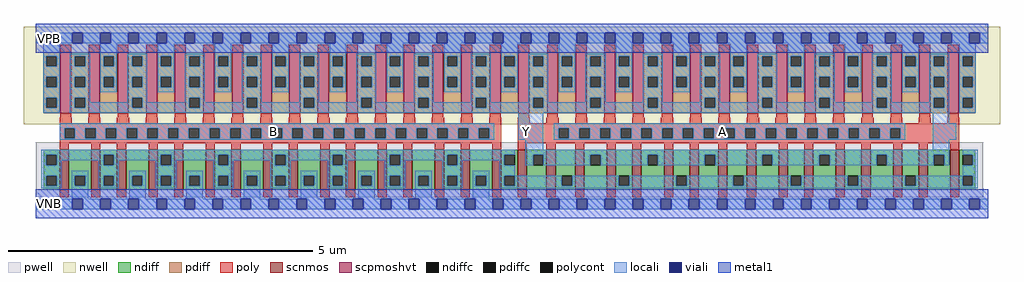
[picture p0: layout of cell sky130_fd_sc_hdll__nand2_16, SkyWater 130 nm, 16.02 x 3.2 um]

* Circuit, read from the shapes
.subckt sky130_fd_sc_hdll__nand2_16 A B VGND VNB VPB VPWR Y
XM1 VGND B n1 VNB sky130_fd_pr__nfet_01v8 w=0.65 l=0.15 m=16
XM2 Y A n1 VNB sky130_fd_pr__nfet_01v8 w=0.65 l=0.15 m=16
XM3 Y B VPWR VPB sky130_fd_pr__pfet_01v8_hvt w=1 l=0.18 m=16
XM4 Y A VPWR VPB sky130_fd_pr__pfet_01v8_hvt w=1 l=0.18 m=16
.ends

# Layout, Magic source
magic
tech sky130A
magscale 1 2
<< nwell >>
rect -38 261 3166 582
<< pwell >>
rect 1 21 3111 203
rect 29 -17 63 21
<< scnmos >>
rect 79 47 109 177
rect 183 47 213 177
rect 267 47 297 177
rect 371 47 401 177
rect 455 47 485 177
rect 559 47 589 177
rect 643 47 673 177
rect 747 47 777 177
rect 831 47 861 177
rect 935 47 965 177
rect 1019 47 1049 177
rect 1123 47 1153 177
rect 1207 47 1237 177
rect 1311 47 1341 177
rect 1395 47 1425 177
rect 1499 47 1529 177
rect 1583 47 1613 177
rect 1677 47 1707 177
rect 1771 47 1801 177
rect 1875 47 1905 177
rect 1959 47 1989 177
rect 2063 47 2093 177
rect 2147 47 2177 177
rect 2241 47 2271 177
rect 2335 47 2365 177
rect 2439 47 2469 177
rect 2523 47 2553 177
rect 2627 47 2657 177
rect 2711 47 2741 177
rect 2815 47 2845 177
rect 2899 47 2929 177
rect 3003 47 3033 177
<< scpmoshvt >>
rect 81 297 117 497
rect 175 297 211 497
rect 269 297 305 497
rect 363 297 399 497
rect 457 297 493 497
rect 551 297 587 497
rect 645 297 681 497
rect 739 297 775 497
rect 833 297 869 497
rect 927 297 963 497
rect 1021 297 1057 497
rect 1115 297 1151 497
rect 1209 297 1245 497
rect 1303 297 1339 497
rect 1397 297 1433 497
rect 1491 297 1527 497
rect 1585 297 1621 497
rect 1679 297 1715 497
rect 1773 297 1809 497
rect 1867 297 1903 497
rect 1961 297 1997 497
rect 2055 297 2091 497
rect 2149 297 2185 497
rect 2243 297 2279 497
rect 2337 297 2373 497
rect 2431 297 2467 497
rect 2525 297 2561 497
rect 2619 297 2655 497
rect 2713 297 2749 497
rect 2807 297 2843 497
rect 2901 297 2937 497
rect 2995 297 3031 497
<< ndiff >>
rect 27 161 79 177
rect 27 127 35 161
rect 69 127 79 161
rect 27 93 79 127
rect 27 59 35 93
rect 69 59 79 93
rect 27 47 79 59
rect 109 93 183 177
rect 109 59 129 93
rect 163 59 183 93
rect 109 47 183 59
rect 213 161 267 177
rect 213 127 223 161
rect 257 127 267 161
rect 213 93 267 127
rect 213 59 223 93
rect 257 59 267 93
rect 213 47 267 59
rect 297 93 371 177
rect 297 59 317 93
rect 351 59 371 93
rect 297 47 371 59
rect 401 161 455 177
rect 401 127 411 161
rect 445 127 455 161
rect 401 93 455 127
rect 401 59 411 93
rect 445 59 455 93
rect 401 47 455 59
rect 485 93 559 177
rect 485 59 505 93
rect 539 59 559 93
rect 485 47 559 59
rect 589 161 643 177
rect 589 127 599 161
rect 633 127 643 161
rect 589 93 643 127
rect 589 59 599 93
rect 633 59 643 93
rect 589 47 643 59
rect 673 93 747 177
rect 673 59 693 93
rect 727 59 747 93
rect 673 47 747 59
rect 777 161 831 177
rect 777 127 787 161
rect 821 127 831 161
rect 777 93 831 127
rect 777 59 787 93
rect 821 59 831 93
rect 777 47 831 59
rect 861 93 935 177
rect 861 59 881 93
rect 915 59 935 93
rect 861 47 935 59
rect 965 161 1019 177
rect 965 127 975 161
rect 1009 127 1019 161
rect 965 93 1019 127
rect 965 59 975 93
rect 1009 59 1019 93
rect 965 47 1019 59
rect 1049 93 1123 177
rect 1049 59 1069 93
rect 1103 59 1123 93
rect 1049 47 1123 59
rect 1153 161 1207 177
rect 1153 127 1163 161
rect 1197 127 1207 161
rect 1153 93 1207 127
rect 1153 59 1163 93
rect 1197 59 1207 93
rect 1153 47 1207 59
rect 1237 93 1311 177
rect 1237 59 1257 93
rect 1291 59 1311 93
rect 1237 47 1311 59
rect 1341 161 1395 177
rect 1341 127 1351 161
rect 1385 127 1395 161
rect 1341 93 1395 127
rect 1341 59 1351 93
rect 1385 59 1395 93
rect 1341 47 1395 59
rect 1425 93 1499 177
rect 1425 59 1445 93
rect 1479 59 1499 93
rect 1425 47 1499 59
rect 1529 161 1583 177
rect 1529 127 1539 161
rect 1573 127 1583 161
rect 1529 93 1583 127
rect 1529 59 1539 93
rect 1573 59 1583 93
rect 1529 47 1583 59
rect 1613 161 1677 177
rect 1613 127 1633 161
rect 1667 127 1677 161
rect 1613 47 1677 127
rect 1707 93 1771 177
rect 1707 59 1727 93
rect 1761 59 1771 93
rect 1707 47 1771 59
rect 1801 161 1875 177
rect 1801 127 1821 161
rect 1855 127 1875 161
rect 1801 47 1875 127
rect 1905 93 1959 177
rect 1905 59 1915 93
rect 1949 59 1959 93
rect 1905 47 1959 59
rect 1989 161 2063 177
rect 1989 127 2009 161
rect 2043 127 2063 161
rect 1989 47 2063 127
rect 2093 93 2147 177
rect 2093 59 2103 93
rect 2137 59 2147 93
rect 2093 47 2147 59
rect 2177 161 2241 177
rect 2177 127 2197 161
rect 2231 127 2241 161
rect 2177 47 2241 127
rect 2271 93 2335 177
rect 2271 59 2291 93
rect 2325 59 2335 93
rect 2271 47 2335 59
rect 2365 161 2439 177
rect 2365 127 2385 161
rect 2419 127 2439 161
rect 2365 47 2439 127
rect 2469 93 2523 177
rect 2469 59 2479 93
rect 2513 59 2523 93
rect 2469 47 2523 59
rect 2553 161 2627 177
rect 2553 127 2573 161
rect 2607 127 2627 161
rect 2553 47 2627 127
rect 2657 93 2711 177
rect 2657 59 2667 93
rect 2701 59 2711 93
rect 2657 47 2711 59
rect 2741 161 2815 177
rect 2741 127 2761 161
rect 2795 127 2815 161
rect 2741 47 2815 127
rect 2845 93 2899 177
rect 2845 59 2855 93
rect 2889 59 2899 93
rect 2845 47 2899 59
rect 2929 161 3003 177
rect 2929 127 2949 161
rect 2983 127 3003 161
rect 2929 47 3003 127
rect 3033 161 3085 177
rect 3033 127 3043 161
rect 3077 127 3085 161
rect 3033 93 3085 127
rect 3033 59 3043 93
rect 3077 59 3085 93
rect 3033 47 3085 59
<< pdiff >>
rect 27 485 81 497
rect 27 451 35 485
rect 69 451 81 485
rect 27 417 81 451
rect 27 383 35 417
rect 69 383 81 417
rect 27 349 81 383
rect 27 315 35 349
rect 69 315 81 349
rect 27 297 81 315
rect 117 485 175 497
rect 117 451 129 485
rect 163 451 175 485
rect 117 417 175 451
rect 117 383 129 417
rect 163 383 175 417
rect 117 349 175 383
rect 117 315 129 349
rect 163 315 175 349
rect 117 297 175 315
rect 211 485 269 497
rect 211 451 223 485
rect 257 451 269 485
rect 211 417 269 451
rect 211 383 223 417
rect 257 383 269 417
rect 211 297 269 383
rect 305 485 363 497
rect 305 451 317 485
rect 351 451 363 485
rect 305 417 363 451
rect 305 383 317 417
rect 351 383 363 417
rect 305 349 363 383
rect 305 315 317 349
rect 351 315 363 349
rect 305 297 363 315
rect 399 485 457 497
rect 399 451 411 485
rect 445 451 457 485
rect 399 417 457 451
rect 399 383 411 417
rect 445 383 457 417
rect 399 297 457 383
rect 493 485 551 497
rect 493 451 505 485
rect 539 451 551 485
rect 493 417 551 451
rect 493 383 505 417
rect 539 383 551 417
rect 493 349 551 383
rect 493 315 505 349
rect 539 315 551 349
rect 493 297 551 315
rect 587 485 645 497
rect 587 451 599 485
rect 633 451 645 485
rect 587 417 645 451
rect 587 383 599 417
rect 633 383 645 417
rect 587 297 645 383
rect 681 485 739 497
rect 681 451 693 485
rect 727 451 739 485
rect 681 417 739 451
rect 681 383 693 417
rect 727 383 739 417
rect 681 349 739 383
rect 681 315 693 349
rect 727 315 739 349
rect 681 297 739 315
rect 775 485 833 497
rect 775 451 787 485
rect 821 451 833 485
rect 775 417 833 451
rect 775 383 787 417
rect 821 383 833 417
rect 775 297 833 383
rect 869 485 927 497
rect 869 451 881 485
rect 915 451 927 485
rect 869 417 927 451
rect 869 383 881 417
rect 915 383 927 417
rect 869 349 927 383
rect 869 315 881 349
rect 915 315 927 349
rect 869 297 927 315
rect 963 485 1021 497
rect 963 451 975 485
rect 1009 451 1021 485
rect 963 417 1021 451
rect 963 383 975 417
rect 1009 383 1021 417
rect 963 297 1021 383
rect 1057 485 1115 497
rect 1057 451 1069 485
rect 1103 451 1115 485
rect 1057 417 1115 451
rect 1057 383 1069 417
rect 1103 383 1115 417
rect 1057 349 1115 383
rect 1057 315 1069 349
rect 1103 315 1115 349
rect 1057 297 1115 315
rect 1151 485 1209 497
rect 1151 451 1163 485
rect 1197 451 1209 485
rect 1151 417 1209 451
rect 1151 383 1163 417
rect 1197 383 1209 417
rect 1151 297 1209 383
rect 1245 485 1303 497
rect 1245 451 1257 485
rect 1291 451 1303 485
rect 1245 417 1303 451
rect 1245 383 1257 417
rect 1291 383 1303 417
rect 1245 349 1303 383
rect 1245 315 1257 349
rect 1291 315 1303 349
rect 1245 297 1303 315
rect 1339 485 1397 497
rect 1339 451 1351 485
rect 1385 451 1397 485
rect 1339 417 1397 451
rect 1339 383 1351 417
rect 1385 383 1397 417
rect 1339 297 1397 383
rect 1433 485 1491 497
rect 1433 451 1445 485
rect 1479 451 1491 485
rect 1433 417 1491 451
rect 1433 383 1445 417
rect 1479 383 1491 417
rect 1433 349 1491 383
rect 1433 315 1445 349
rect 1479 315 1491 349
rect 1433 297 1491 315
rect 1527 485 1585 497
rect 1527 451 1539 485
rect 1573 451 1585 485
rect 1527 417 1585 451
rect 1527 383 1539 417
rect 1573 383 1585 417
rect 1527 297 1585 383
rect 1621 485 1679 497
rect 1621 451 1633 485
rect 1667 451 1679 485
rect 1621 417 1679 451
rect 1621 383 1633 417
rect 1667 383 1679 417
rect 1621 349 1679 383
rect 1621 315 1633 349
rect 1667 315 1679 349
rect 1621 297 1679 315
rect 1715 485 1773 497
rect 1715 451 1727 485
rect 1761 451 1773 485
rect 1715 417 1773 451
rect 1715 383 1727 417
rect 1761 383 1773 417
rect 1715 297 1773 383
rect 1809 485 1867 497
rect 1809 451 1821 485
rect 1855 451 1867 485
rect 1809 417 1867 451
rect 1809 383 1821 417
rect 1855 383 1867 417
rect 1809 349 1867 383
rect 1809 315 1821 349
rect 1855 315 1867 349
rect 1809 297 1867 315
rect 1903 485 1961 497
rect 1903 451 1915 485
rect 1949 451 1961 485
rect 1903 417 1961 451
rect 1903 383 1915 417
rect 1949 383 1961 417
rect 1903 297 1961 383
rect 1997 485 2055 497
rect 1997 451 2009 485
rect 2043 451 2055 485
rect 1997 417 2055 451
rect 1997 383 2009 417
rect 2043 383 2055 417
rect 1997 349 2055 383
rect 1997 315 2009 349
rect 2043 315 2055 349
rect 1997 297 2055 315
rect 2091 485 2149 497
rect 2091 451 2103 485
rect 2137 451 2149 485
rect 2091 417 2149 451
rect 2091 383 2103 417
rect 2137 383 2149 417
rect 2091 297 2149 383
rect 2185 485 2243 497
rect 2185 451 2197 485
rect 2231 451 2243 485
rect 2185 417 2243 451
rect 2185 383 2197 417
rect 2231 383 2243 417
rect 2185 349 2243 383
rect 2185 315 2197 349
rect 2231 315 2243 349
rect 2185 297 2243 315
rect 2279 485 2337 497
rect 2279 451 2291 485
rect 2325 451 2337 485
rect 2279 417 2337 451
rect 2279 383 2291 417
rect 2325 383 2337 417
rect 2279 297 2337 383
rect 2373 485 2431 497
rect 2373 451 2385 485
rect 2419 451 2431 485
rect 2373 417 2431 451
rect 2373 383 2385 417
rect 2419 383 2431 417
rect 2373 349 2431 383
rect 2373 315 2385 349
rect 2419 315 2431 349
rect 2373 297 2431 315
rect 2467 485 2525 497
rect 2467 451 2479 485
rect 2513 451 2525 485
rect 2467 417 2525 451
rect 2467 383 2479 417
rect 2513 383 2525 417
rect 2467 297 2525 383
rect 2561 485 2619 497
rect 2561 451 2573 485
rect 2607 451 2619 485
rect 2561 417 2619 451
rect 2561 383 2573 417
rect 2607 383 2619 417
rect 2561 349 2619 383
rect 2561 315 2573 349
rect 2607 315 2619 349
rect 2561 297 2619 315
rect 2655 485 2713 497
rect 2655 451 2667 485
rect 2701 451 2713 485
rect 2655 417 2713 451
rect 2655 383 2667 417
rect 2701 383 2713 417
rect 2655 297 2713 383
rect 2749 485 2807 497
rect 2749 451 2761 485
rect 2795 451 2807 485
rect 2749 417 2807 451
rect 2749 383 2761 417
rect 2795 383 2807 417
rect 2749 349 2807 383
rect 2749 315 2761 349
rect 2795 315 2807 349
rect 2749 297 2807 315
rect 2843 485 2901 497
rect 2843 451 2855 485
rect 2889 451 2901 485
rect 2843 417 2901 451
rect 2843 383 2855 417
rect 2889 383 2901 417
rect 2843 297 2901 383
rect 2937 485 2995 497
rect 2937 451 2949 485
rect 2983 451 2995 485
rect 2937 417 2995 451
rect 2937 383 2949 417
rect 2983 383 2995 417
rect 2937 349 2995 383
rect 2937 315 2949 349
rect 2983 315 2995 349
rect 2937 297 2995 315
rect 3031 485 3085 497
rect 3031 451 3043 485
rect 3077 451 3085 485
rect 3031 417 3085 451
rect 3031 383 3043 417
rect 3077 383 3085 417
rect 3031 349 3085 383
rect 3031 315 3043 349
rect 3077 315 3085 349
rect 3031 297 3085 315
<< ndiffc >>
rect 35 127 69 161
rect 35 59 69 93
rect 129 59 163 93
rect 223 127 257 161
rect 223 59 257 93
rect 317 59 351 93
rect 411 127 445 161
rect 411 59 445 93
rect 505 59 539 93
rect 599 127 633 161
rect 599 59 633 93
rect 693 59 727 93
rect 787 127 821 161
rect 787 59 821 93
rect 881 59 915 93
rect 975 127 1009 161
rect 975 59 1009 93
rect 1069 59 1103 93
rect 1163 127 1197 161
rect 1163 59 1197 93
rect 1257 59 1291 93
rect 1351 127 1385 161
rect 1351 59 1385 93
rect 1445 59 1479 93
rect 1539 127 1573 161
rect 1539 59 1573 93
rect 1633 127 1667 161
rect 1727 59 1761 93
rect 1821 127 1855 161
rect 1915 59 1949 93
rect 2009 127 2043 161
rect 2103 59 2137 93
rect 2197 127 2231 161
rect 2291 59 2325 93
rect 2385 127 2419 161
rect 2479 59 2513 93
rect 2573 127 2607 161
rect 2667 59 2701 93
rect 2761 127 2795 161
rect 2855 59 2889 93
rect 2949 127 2983 161
rect 3043 127 3077 161
rect 3043 59 3077 93
<< pdiffc >>
rect 35 451 69 485
rect 35 383 69 417
rect 35 315 69 349
rect 129 451 163 485
rect 129 383 163 417
rect 129 315 163 349
rect 223 451 257 485
rect 223 383 257 417
rect 317 451 351 485
rect 317 383 351 417
rect 317 315 351 349
rect 411 451 445 485
rect 411 383 445 417
rect 505 451 539 485
rect 505 383 539 417
rect 505 315 539 349
rect 599 451 633 485
rect 599 383 633 417
rect 693 451 727 485
rect 693 383 727 417
rect 693 315 727 349
rect 787 451 821 485
rect 787 383 821 417
rect 881 451 915 485
rect 881 383 915 417
rect 881 315 915 349
rect 975 451 1009 485
rect 975 383 1009 417
rect 1069 451 1103 485
rect 1069 383 1103 417
rect 1069 315 1103 349
rect 1163 451 1197 485
rect 1163 383 1197 417
rect 1257 451 1291 485
rect 1257 383 1291 417
rect 1257 315 1291 349
rect 1351 451 1385 485
rect 1351 383 1385 417
rect 1445 451 1479 485
rect 1445 383 1479 417
rect 1445 315 1479 349
rect 1539 451 1573 485
rect 1539 383 1573 417
rect 1633 451 1667 485
rect 1633 383 1667 417
rect 1633 315 1667 349
rect 1727 451 1761 485
rect 1727 383 1761 417
rect 1821 451 1855 485
rect 1821 383 1855 417
rect 1821 315 1855 349
rect 1915 451 1949 485
rect 1915 383 1949 417
rect 2009 451 2043 485
rect 2009 383 2043 417
rect 2009 315 2043 349
rect 2103 451 2137 485
rect 2103 383 2137 417
rect 2197 451 2231 485
rect 2197 383 2231 417
rect 2197 315 2231 349
rect 2291 451 2325 485
rect 2291 383 2325 417
rect 2385 451 2419 485
rect 2385 383 2419 417
rect 2385 315 2419 349
rect 2479 451 2513 485
rect 2479 383 2513 417
rect 2573 451 2607 485
rect 2573 383 2607 417
rect 2573 315 2607 349
rect 2667 451 2701 485
rect 2667 383 2701 417
rect 2761 451 2795 485
rect 2761 383 2795 417
rect 2761 315 2795 349
rect 2855 451 2889 485
rect 2855 383 2889 417
rect 2949 451 2983 485
rect 2949 383 2983 417
rect 2949 315 2983 349
rect 3043 451 3077 485
rect 3043 383 3077 417
rect 3043 315 3077 349
<< poly >>
rect 81 497 117 523
rect 175 497 211 523
rect 269 497 305 523
rect 363 497 399 523
rect 457 497 493 523
rect 551 497 587 523
rect 645 497 681 523
rect 739 497 775 523
rect 833 497 869 523
rect 927 497 963 523
rect 1021 497 1057 523
rect 1115 497 1151 523
rect 1209 497 1245 523
rect 1303 497 1339 523
rect 1397 497 1433 523
rect 1491 497 1527 523
rect 1585 497 1621 523
rect 1679 497 1715 523
rect 1773 497 1809 523
rect 1867 497 1903 523
rect 1961 497 1997 523
rect 2055 497 2091 523
rect 2149 497 2185 523
rect 2243 497 2279 523
rect 2337 497 2373 523
rect 2431 497 2467 523
rect 2525 497 2561 523
rect 2619 497 2655 523
rect 2713 497 2749 523
rect 2807 497 2843 523
rect 2901 497 2937 523
rect 2995 497 3031 523
rect 81 282 117 297
rect 175 282 211 297
rect 269 282 305 297
rect 363 282 399 297
rect 457 282 493 297
rect 551 282 587 297
rect 645 282 681 297
rect 739 282 775 297
rect 833 282 869 297
rect 927 282 963 297
rect 1021 282 1057 297
rect 1115 282 1151 297
rect 1209 282 1245 297
rect 1303 282 1339 297
rect 1397 282 1433 297
rect 1491 282 1527 297
rect 1585 282 1621 297
rect 1679 282 1715 297
rect 1773 282 1809 297
rect 1867 282 1903 297
rect 1961 282 1997 297
rect 2055 282 2091 297
rect 2149 282 2185 297
rect 2243 282 2279 297
rect 2337 282 2373 297
rect 2431 282 2467 297
rect 2525 282 2561 297
rect 2619 282 2655 297
rect 2713 282 2749 297
rect 2807 282 2843 297
rect 2901 282 2937 297
rect 2995 282 3031 297
rect 79 265 119 282
rect 173 265 213 282
rect 267 265 307 282
rect 361 265 401 282
rect 455 265 495 282
rect 549 265 589 282
rect 643 265 683 282
rect 737 265 777 282
rect 831 265 871 282
rect 925 265 965 282
rect 1019 265 1059 282
rect 1113 265 1153 282
rect 1207 265 1247 282
rect 1301 265 1341 282
rect 1395 265 1435 282
rect 1489 265 1529 282
rect 79 249 1529 265
rect 79 215 95 249
rect 129 215 163 249
rect 197 215 231 249
rect 265 215 299 249
rect 333 215 367 249
rect 401 215 435 249
rect 469 215 503 249
rect 537 215 571 249
rect 605 215 639 249
rect 673 215 707 249
rect 741 215 775 249
rect 809 215 843 249
rect 877 215 911 249
rect 945 215 979 249
rect 1013 215 1047 249
rect 1081 215 1115 249
rect 1149 215 1183 249
rect 1217 215 1251 249
rect 1285 215 1319 249
rect 1353 215 1387 249
rect 1421 215 1455 249
rect 1489 215 1529 249
rect 79 199 1529 215
rect 79 177 109 199
rect 183 177 213 199
rect 267 177 297 199
rect 371 177 401 199
rect 455 177 485 199
rect 559 177 589 199
rect 643 177 673 199
rect 747 177 777 199
rect 831 177 861 199
rect 935 177 965 199
rect 1019 177 1049 199
rect 1123 177 1153 199
rect 1207 177 1237 199
rect 1311 177 1341 199
rect 1395 177 1425 199
rect 1499 177 1529 199
rect 1583 265 1623 282
rect 1677 265 1717 282
rect 1771 265 1811 282
rect 1865 265 1905 282
rect 1959 265 1999 282
rect 2053 265 2093 282
rect 2147 265 2187 282
rect 2241 265 2281 282
rect 2335 265 2375 282
rect 2429 265 2469 282
rect 2523 265 2563 282
rect 2617 265 2657 282
rect 2711 265 2751 282
rect 2805 265 2845 282
rect 2899 265 2939 282
rect 2993 265 3033 282
rect 1583 249 3033 265
rect 1583 215 1717 249
rect 1751 215 1785 249
rect 1819 215 1853 249
rect 1887 215 1921 249
rect 1955 215 1989 249
rect 2023 215 2057 249
rect 2091 215 2125 249
rect 2159 215 2193 249
rect 2227 215 2261 249
rect 2295 215 2329 249
rect 2363 215 2397 249
rect 2431 215 2465 249
rect 2499 215 2533 249
rect 2567 215 2601 249
rect 2635 215 2669 249
rect 2703 215 2737 249
rect 2771 215 2805 249
rect 2839 215 3033 249
rect 1583 199 3033 215
rect 1583 177 1613 199
rect 1677 177 1707 199
rect 1771 177 1801 199
rect 1875 177 1905 199
rect 1959 177 1989 199
rect 2063 177 2093 199
rect 2147 177 2177 199
rect 2241 177 2271 199
rect 2335 177 2365 199
rect 2439 177 2469 199
rect 2523 177 2553 199
rect 2627 177 2657 199
rect 2711 177 2741 199
rect 2815 177 2845 199
rect 2899 177 2929 199
rect 3003 177 3033 199
rect 79 21 109 47
rect 183 21 213 47
rect 267 21 297 47
rect 371 21 401 47
rect 455 21 485 47
rect 559 21 589 47
rect 643 21 673 47
rect 747 21 777 47
rect 831 21 861 47
rect 935 21 965 47
rect 1019 21 1049 47
rect 1123 21 1153 47
rect 1207 21 1237 47
rect 1311 21 1341 47
rect 1395 21 1425 47
rect 1499 21 1529 47
rect 1583 21 1613 47
rect 1677 21 1707 47
rect 1771 21 1801 47
rect 1875 21 1905 47
rect 1959 21 1989 47
rect 2063 21 2093 47
rect 2147 21 2177 47
rect 2241 21 2271 47
rect 2335 21 2365 47
rect 2439 21 2469 47
rect 2523 21 2553 47
rect 2627 21 2657 47
rect 2711 21 2741 47
rect 2815 21 2845 47
rect 2899 21 2929 47
rect 3003 21 3033 47
<< polycont >>
rect 95 215 129 249
rect 163 215 197 249
rect 231 215 265 249
rect 299 215 333 249
rect 367 215 401 249
rect 435 215 469 249
rect 503 215 537 249
rect 571 215 605 249
rect 639 215 673 249
rect 707 215 741 249
rect 775 215 809 249
rect 843 215 877 249
rect 911 215 945 249
rect 979 215 1013 249
rect 1047 215 1081 249
rect 1115 215 1149 249
rect 1183 215 1217 249
rect 1251 215 1285 249
rect 1319 215 1353 249
rect 1387 215 1421 249
rect 1455 215 1489 249
rect 1717 215 1751 249
rect 1785 215 1819 249
rect 1853 215 1887 249
rect 1921 215 1955 249
rect 1989 215 2023 249
rect 2057 215 2091 249
rect 2125 215 2159 249
rect 2193 215 2227 249
rect 2261 215 2295 249
rect 2329 215 2363 249
rect 2397 215 2431 249
rect 2465 215 2499 249
rect 2533 215 2567 249
rect 2601 215 2635 249
rect 2669 215 2703 249
rect 2737 215 2771 249
rect 2805 215 2839 249
<< locali >>
rect 0 527 29 561
rect 63 527 121 561
rect 155 527 213 561
rect 247 527 305 561
rect 339 527 397 561
rect 431 527 489 561
rect 523 527 581 561
rect 615 527 673 561
rect 707 527 765 561
rect 799 527 857 561
rect 891 527 949 561
rect 983 527 1041 561
rect 1075 527 1133 561
rect 1167 527 1225 561
rect 1259 527 1317 561
rect 1351 527 1409 561
rect 1443 527 1501 561
rect 1535 527 1593 561
rect 1627 527 1685 561
rect 1719 527 1777 561
rect 1811 527 1869 561
rect 1903 527 1961 561
rect 1995 527 2053 561
rect 2087 527 2145 561
rect 2179 527 2237 561
rect 2271 527 2329 561
rect 2363 527 2421 561
rect 2455 527 2513 561
rect 2547 527 2605 561
rect 2639 527 2697 561
rect 2731 527 2789 561
rect 2823 527 2881 561
rect 2915 527 2973 561
rect 3007 527 3065 561
rect 3099 527 3128 561
rect 25 485 79 527
rect 25 451 35 485
rect 69 451 79 485
rect 25 417 79 451
rect 25 383 35 417
rect 69 383 79 417
rect 25 349 79 383
rect 25 315 35 349
rect 69 315 79 349
rect 25 299 79 315
rect 113 485 179 493
rect 113 451 129 485
rect 163 451 179 485
rect 113 417 179 451
rect 113 383 129 417
rect 163 383 179 417
rect 113 349 179 383
rect 213 485 267 527
rect 213 451 223 485
rect 257 451 267 485
rect 213 417 267 451
rect 213 383 223 417
rect 257 383 267 417
rect 213 367 267 383
rect 301 485 367 493
rect 301 451 317 485
rect 351 451 367 485
rect 301 417 367 451
rect 301 383 317 417
rect 351 383 367 417
rect 113 315 129 349
rect 163 333 179 349
rect 301 349 367 383
rect 401 485 455 527
rect 401 451 411 485
rect 445 451 455 485
rect 401 417 455 451
rect 401 383 411 417
rect 445 383 455 417
rect 401 367 455 383
rect 489 485 555 493
rect 489 451 505 485
rect 539 451 555 485
rect 489 417 555 451
rect 489 383 505 417
rect 539 383 555 417
rect 301 333 317 349
rect 163 315 317 333
rect 351 333 367 349
rect 489 349 555 383
rect 589 485 643 527
rect 589 451 599 485
rect 633 451 643 485
rect 589 417 643 451
rect 589 383 599 417
rect 633 383 643 417
rect 589 367 643 383
rect 677 485 743 493
rect 677 451 693 485
rect 727 451 743 485
rect 677 417 743 451
rect 677 383 693 417
rect 727 383 743 417
rect 489 333 505 349
rect 351 315 505 333
rect 539 333 555 349
rect 677 349 743 383
rect 777 485 831 527
rect 777 451 787 485
rect 821 451 831 485
rect 777 417 831 451
rect 777 383 787 417
rect 821 383 831 417
rect 777 367 831 383
rect 865 485 931 493
rect 865 451 881 485
rect 915 451 931 485
rect 865 417 931 451
rect 865 383 881 417
rect 915 383 931 417
rect 677 333 693 349
rect 539 315 693 333
rect 727 333 743 349
rect 865 349 931 383
rect 965 485 1019 527
rect 965 451 975 485
rect 1009 451 1019 485
rect 965 417 1019 451
rect 965 383 975 417
rect 1009 383 1019 417
rect 965 367 1019 383
rect 1053 485 1119 493
rect 1053 451 1069 485
rect 1103 451 1119 485
rect 1053 417 1119 451
rect 1053 383 1069 417
rect 1103 383 1119 417
rect 865 333 881 349
rect 727 315 881 333
rect 915 333 931 349
rect 1053 349 1119 383
rect 1153 485 1207 527
rect 1153 451 1163 485
rect 1197 451 1207 485
rect 1153 417 1207 451
rect 1153 383 1163 417
rect 1197 383 1207 417
rect 1153 367 1207 383
rect 1241 485 1307 493
rect 1241 451 1257 485
rect 1291 451 1307 485
rect 1241 417 1307 451
rect 1241 383 1257 417
rect 1291 383 1307 417
rect 1053 333 1069 349
rect 915 315 1069 333
rect 1103 333 1119 349
rect 1241 349 1307 383
rect 1341 485 1395 527
rect 1341 451 1351 485
rect 1385 451 1395 485
rect 1341 417 1395 451
rect 1341 383 1351 417
rect 1385 383 1395 417
rect 1341 367 1395 383
rect 1429 485 1495 493
rect 1429 451 1445 485
rect 1479 451 1495 485
rect 1429 417 1495 451
rect 1429 383 1445 417
rect 1479 383 1495 417
rect 1241 333 1257 349
rect 1103 315 1257 333
rect 1291 333 1307 349
rect 1429 349 1495 383
rect 1529 485 1583 527
rect 1529 451 1539 485
rect 1573 451 1583 485
rect 1529 417 1583 451
rect 1529 383 1539 417
rect 1573 383 1583 417
rect 1529 367 1583 383
rect 1617 485 1683 493
rect 1617 451 1633 485
rect 1667 451 1683 485
rect 1617 417 1683 451
rect 1617 383 1633 417
rect 1667 383 1683 417
rect 1429 333 1445 349
rect 1291 315 1445 333
rect 1479 333 1495 349
rect 1617 349 1683 383
rect 1717 485 1771 527
rect 1717 451 1727 485
rect 1761 451 1771 485
rect 1717 417 1771 451
rect 1717 383 1727 417
rect 1761 383 1771 417
rect 1717 367 1771 383
rect 1805 485 1871 493
rect 1805 451 1821 485
rect 1855 451 1871 485
rect 1805 417 1871 451
rect 1805 383 1821 417
rect 1855 383 1871 417
rect 1617 333 1633 349
rect 1479 315 1633 333
rect 1667 333 1683 349
rect 1805 349 1871 383
rect 1905 485 1959 527
rect 1905 451 1915 485
rect 1949 451 1959 485
rect 1905 417 1959 451
rect 1905 383 1915 417
rect 1949 383 1959 417
rect 1905 367 1959 383
rect 1993 485 2059 493
rect 1993 451 2009 485
rect 2043 451 2059 485
rect 1993 417 2059 451
rect 1993 383 2009 417
rect 2043 383 2059 417
rect 1805 333 1821 349
rect 1667 315 1821 333
rect 1855 333 1871 349
rect 1993 349 2059 383
rect 2093 485 2147 527
rect 2093 451 2103 485
rect 2137 451 2147 485
rect 2093 417 2147 451
rect 2093 383 2103 417
rect 2137 383 2147 417
rect 2093 367 2147 383
rect 2181 485 2247 493
rect 2181 451 2197 485
rect 2231 451 2247 485
rect 2181 417 2247 451
rect 2181 383 2197 417
rect 2231 383 2247 417
rect 1993 333 2009 349
rect 1855 315 2009 333
rect 2043 333 2059 349
rect 2181 349 2247 383
rect 2281 485 2335 527
rect 2281 451 2291 485
rect 2325 451 2335 485
rect 2281 417 2335 451
rect 2281 383 2291 417
rect 2325 383 2335 417
rect 2281 367 2335 383
rect 2369 485 2435 493
rect 2369 451 2385 485
rect 2419 451 2435 485
rect 2369 417 2435 451
rect 2369 383 2385 417
rect 2419 383 2435 417
rect 2181 333 2197 349
rect 2043 315 2197 333
rect 2231 333 2247 349
rect 2369 349 2435 383
rect 2469 485 2523 527
rect 2469 451 2479 485
rect 2513 451 2523 485
rect 2469 417 2523 451
rect 2469 383 2479 417
rect 2513 383 2523 417
rect 2469 367 2523 383
rect 2557 485 2623 493
rect 2557 451 2573 485
rect 2607 451 2623 485
rect 2557 417 2623 451
rect 2557 383 2573 417
rect 2607 383 2623 417
rect 2369 333 2385 349
rect 2231 315 2385 333
rect 2419 333 2435 349
rect 2557 349 2623 383
rect 2657 485 2711 527
rect 2657 451 2667 485
rect 2701 451 2711 485
rect 2657 417 2711 451
rect 2657 383 2667 417
rect 2701 383 2711 417
rect 2657 367 2711 383
rect 2745 485 2811 493
rect 2745 451 2761 485
rect 2795 451 2811 485
rect 2745 417 2811 451
rect 2745 383 2761 417
rect 2795 383 2811 417
rect 2557 333 2573 349
rect 2419 315 2573 333
rect 2607 333 2623 349
rect 2745 349 2811 383
rect 2845 485 2899 527
rect 2845 451 2855 485
rect 2889 451 2899 485
rect 2845 417 2899 451
rect 2845 383 2855 417
rect 2889 383 2899 417
rect 2845 367 2899 383
rect 2933 485 2999 493
rect 2933 451 2949 485
rect 2983 451 2999 485
rect 2933 417 2999 451
rect 2933 383 2949 417
rect 2983 383 2999 417
rect 2745 333 2761 349
rect 2607 315 2761 333
rect 2795 333 2811 349
rect 2933 349 2999 383
rect 2933 333 2949 349
rect 2795 315 2949 333
rect 2983 315 2999 349
rect 113 299 2999 315
rect 3033 485 3087 527
rect 3033 451 3043 485
rect 3077 451 3087 485
rect 3033 417 3087 451
rect 3033 383 3043 417
rect 3077 383 3087 417
rect 3033 349 3087 383
rect 3033 315 3043 349
rect 3077 315 3087 349
rect 3033 299 3087 315
rect 79 249 1505 265
rect 79 215 95 249
rect 129 215 163 249
rect 197 215 231 249
rect 265 215 299 249
rect 333 215 367 249
rect 401 215 435 249
rect 469 215 503 249
rect 537 215 571 249
rect 605 215 639 249
rect 673 215 707 249
rect 741 215 775 249
rect 809 215 843 249
rect 877 215 911 249
rect 945 215 979 249
rect 1013 215 1047 249
rect 1081 215 1115 249
rect 1149 215 1183 249
rect 1217 215 1251 249
rect 1285 215 1319 249
rect 1353 215 1387 249
rect 1421 215 1455 249
rect 1489 215 1505 249
rect 79 211 1505 215
rect 1585 211 1667 299
rect 2945 265 2999 299
rect 1701 249 2855 265
rect 1701 215 1717 249
rect 1751 215 1785 249
rect 1819 215 1853 249
rect 1887 215 1921 249
rect 1955 215 1989 249
rect 2023 215 2057 249
rect 2091 215 2125 249
rect 2159 215 2193 249
rect 2227 215 2261 249
rect 2295 215 2329 249
rect 2363 215 2397 249
rect 2431 215 2465 249
rect 2499 215 2533 249
rect 2567 215 2601 249
rect 2635 215 2669 249
rect 2703 215 2737 249
rect 2771 215 2805 249
rect 2839 215 2855 249
rect 1701 211 2855 215
rect 2945 211 3023 265
rect 1607 177 1667 211
rect 2945 177 2999 211
rect 19 161 1573 177
rect 19 127 35 161
rect 69 143 223 161
rect 69 127 85 143
rect 19 93 85 127
rect 207 127 223 143
rect 257 143 411 161
rect 257 127 273 143
rect 19 59 35 93
rect 69 59 85 93
rect 19 51 85 59
rect 119 93 173 109
rect 119 59 129 93
rect 163 59 173 93
rect 119 17 173 59
rect 207 93 273 127
rect 395 127 411 143
rect 445 143 599 161
rect 445 127 461 143
rect 207 59 223 93
rect 257 59 273 93
rect 207 51 273 59
rect 307 93 361 109
rect 307 59 317 93
rect 351 59 361 93
rect 307 17 361 59
rect 395 93 461 127
rect 583 127 599 143
rect 633 143 787 161
rect 633 127 649 143
rect 395 59 411 93
rect 445 59 461 93
rect 395 51 461 59
rect 495 93 549 109
rect 495 59 505 93
rect 539 59 549 93
rect 495 17 549 59
rect 583 93 649 127
rect 771 127 787 143
rect 821 143 975 161
rect 821 127 837 143
rect 583 59 599 93
rect 633 59 649 93
rect 583 51 649 59
rect 683 93 737 109
rect 683 59 693 93
rect 727 59 737 93
rect 683 17 737 59
rect 771 93 837 127
rect 959 127 975 143
rect 1009 143 1163 161
rect 1009 127 1025 143
rect 771 59 787 93
rect 821 59 837 93
rect 771 51 837 59
rect 871 93 925 109
rect 871 59 881 93
rect 915 59 925 93
rect 871 17 925 59
rect 959 93 1025 127
rect 1147 127 1163 143
rect 1197 143 1351 161
rect 1197 127 1213 143
rect 959 59 975 93
rect 1009 59 1025 93
rect 959 51 1025 59
rect 1059 93 1113 109
rect 1059 59 1069 93
rect 1103 59 1113 93
rect 1059 17 1113 59
rect 1147 93 1213 127
rect 1335 127 1351 143
rect 1385 143 1539 161
rect 1385 127 1401 143
rect 1147 59 1163 93
rect 1197 59 1213 93
rect 1147 51 1213 59
rect 1247 93 1301 109
rect 1247 59 1257 93
rect 1291 59 1301 93
rect 1247 17 1301 59
rect 1335 93 1401 127
rect 1523 127 1539 143
rect 1607 161 2999 177
rect 1607 127 1633 161
rect 1667 127 1821 161
rect 1855 127 2009 161
rect 2043 127 2197 161
rect 2231 127 2385 161
rect 2419 127 2573 161
rect 2607 127 2761 161
rect 2795 127 2949 161
rect 2983 127 2999 161
rect 3043 161 3093 177
rect 3077 127 3093 161
rect 1335 59 1351 93
rect 1385 59 1401 93
rect 1335 51 1401 59
rect 1435 93 1489 109
rect 1435 59 1445 93
rect 1479 59 1489 93
rect 1435 17 1489 59
rect 1523 93 1573 127
rect 3043 93 3093 127
rect 1523 59 1539 93
rect 1573 59 1727 93
rect 1761 59 1915 93
rect 1949 59 2103 93
rect 2137 59 2291 93
rect 2325 59 2479 93
rect 2513 59 2667 93
rect 2701 59 2855 93
rect 2889 59 3043 93
rect 3077 59 3093 93
rect 1523 51 3093 59
rect 0 -17 29 17
rect 63 -17 121 17
rect 155 -17 213 17
rect 247 -17 305 17
rect 339 -17 397 17
rect 431 -17 489 17
rect 523 -17 581 17
rect 615 -17 673 17
rect 707 -17 765 17
rect 799 -17 857 17
rect 891 -17 949 17
rect 983 -17 1041 17
rect 1075 -17 1133 17
rect 1167 -17 1225 17
rect 1259 -17 1317 17
rect 1351 -17 1409 17
rect 1443 -17 1501 17
rect 1535 -17 1593 17
rect 1627 -17 1685 17
rect 1719 -17 1777 17
rect 1811 -17 1869 17
rect 1903 -17 1961 17
rect 1995 -17 2053 17
rect 2087 -17 2145 17
rect 2179 -17 2237 17
rect 2271 -17 2329 17
rect 2363 -17 2421 17
rect 2455 -17 2513 17
rect 2547 -17 2605 17
rect 2639 -17 2697 17
rect 2731 -17 2789 17
rect 2823 -17 2881 17
rect 2915 -17 2973 17
rect 3007 -17 3065 17
rect 3099 -17 3128 17
<< viali >>
rect 29 527 63 561
rect 121 527 155 561
rect 213 527 247 561
rect 305 527 339 561
rect 397 527 431 561
rect 489 527 523 561
rect 581 527 615 561
rect 673 527 707 561
rect 765 527 799 561
rect 857 527 891 561
rect 949 527 983 561
rect 1041 527 1075 561
rect 1133 527 1167 561
rect 1225 527 1259 561
rect 1317 527 1351 561
rect 1409 527 1443 561
rect 1501 527 1535 561
rect 1593 527 1627 561
rect 1685 527 1719 561
rect 1777 527 1811 561
rect 1869 527 1903 561
rect 1961 527 1995 561
rect 2053 527 2087 561
rect 2145 527 2179 561
rect 2237 527 2271 561
rect 2329 527 2363 561
rect 2421 527 2455 561
rect 2513 527 2547 561
rect 2605 527 2639 561
rect 2697 527 2731 561
rect 2789 527 2823 561
rect 2881 527 2915 561
rect 2973 527 3007 561
rect 3065 527 3099 561
rect 29 -17 63 17
rect 121 -17 155 17
rect 213 -17 247 17
rect 305 -17 339 17
rect 397 -17 431 17
rect 489 -17 523 17
rect 581 -17 615 17
rect 673 -17 707 17
rect 765 -17 799 17
rect 857 -17 891 17
rect 949 -17 983 17
rect 1041 -17 1075 17
rect 1133 -17 1167 17
rect 1225 -17 1259 17
rect 1317 -17 1351 17
rect 1409 -17 1443 17
rect 1501 -17 1535 17
rect 1593 -17 1627 17
rect 1685 -17 1719 17
rect 1777 -17 1811 17
rect 1869 -17 1903 17
rect 1961 -17 1995 17
rect 2053 -17 2087 17
rect 2145 -17 2179 17
rect 2237 -17 2271 17
rect 2329 -17 2363 17
rect 2421 -17 2455 17
rect 2513 -17 2547 17
rect 2605 -17 2639 17
rect 2697 -17 2731 17
rect 2789 -17 2823 17
rect 2881 -17 2915 17
rect 2973 -17 3007 17
rect 3065 -17 3099 17
<< metal1 >>
rect 0 561 3128 592
rect 0 527 29 561
rect 63 527 121 561
rect 155 527 213 561
rect 247 527 305 561
rect 339 527 397 561
rect 431 527 489 561
rect 523 527 581 561
rect 615 527 673 561
rect 707 527 765 561
rect 799 527 857 561
rect 891 527 949 561
rect 983 527 1041 561
rect 1075 527 1133 561
rect 1167 527 1225 561
rect 1259 527 1317 561
rect 1351 527 1409 561
rect 1443 527 1501 561
rect 1535 527 1593 561
rect 1627 527 1685 561
rect 1719 527 1777 561
rect 1811 527 1869 561
rect 1903 527 1961 561
rect 1995 527 2053 561
rect 2087 527 2145 561
rect 2179 527 2237 561
rect 2271 527 2329 561
rect 2363 527 2421 561
rect 2455 527 2513 561
rect 2547 527 2605 561
rect 2639 527 2697 561
rect 2731 527 2789 561
rect 2823 527 2881 561
rect 2915 527 2973 561
rect 3007 527 3065 561
rect 3099 527 3128 561
rect 0 496 3128 527
rect 0 17 3128 48
rect 0 -17 29 17
rect 63 -17 121 17
rect 155 -17 213 17
rect 247 -17 305 17
rect 339 -17 397 17
rect 431 -17 489 17
rect 523 -17 581 17
rect 615 -17 673 17
rect 707 -17 765 17
rect 799 -17 857 17
rect 891 -17 949 17
rect 983 -17 1041 17
rect 1075 -17 1133 17
rect 1167 -17 1225 17
rect 1259 -17 1317 17
rect 1351 -17 1409 17
rect 1443 -17 1501 17
rect 1535 -17 1593 17
rect 1627 -17 1685 17
rect 1719 -17 1777 17
rect 1811 -17 1869 17
rect 1903 -17 1961 17
rect 1995 -17 2053 17
rect 2087 -17 2145 17
rect 2179 -17 2237 17
rect 2271 -17 2329 17
rect 2363 -17 2421 17
rect 2455 -17 2513 17
rect 2547 -17 2605 17
rect 2639 -17 2697 17
rect 2731 -17 2789 17
rect 2823 -17 2881 17
rect 2915 -17 2973 17
rect 3007 -17 3065 17
rect 3099 -17 3128 17
rect 0 -48 3128 -17
<< labels >>
flabel locali s 1593 221 1627 255 0 FreeSans 250 0 0 0 Y
port 7 nsew signal output
flabel locali s 2237 221 2271 255 0 FreeSans 250 0 0 0 A
port 1 nsew signal input
flabel locali s 765 221 799 255 0 FreeSans 250 0 0 0 B
port 2 nsew signal input
flabel nwell s 29 527 63 561 0 FreeSans 200 0 0 0 VPB
port 5 nsew power bidirectional
flabel pwell s 29 -17 63 17 0 FreeSans 200 0 0 0 VNB
port 4 nsew ground bidirectional
flabel metal1 s 29 -17 63 17 0 FreeSans 200 0 0 0 VGND
port 3 nsew ground bidirectional
flabel metal1 s 29 527 63 561 0 FreeSans 200 0 0 0 VPWR
port 6 nsew power bidirectional
rlabel comment s 0 0 0 0 4 nand2_16
<< properties >>
string LEFsite unithd
string LEFclass CORE
string FIXED_BBOX 0 0 3128 544
string GDS_FILE $PDKPATH/libs.ref/sky130_fd_sc_hdll/gds/sky130_fd_sc_hdll.gds
string LEFsymmetry X Y R90
string GDS_END 3516752
string GDS_START 3495032
string LEFproperties maskLayoutSubType "abstract" prCellType "standard" originalViewName "layout"
<< end >>
